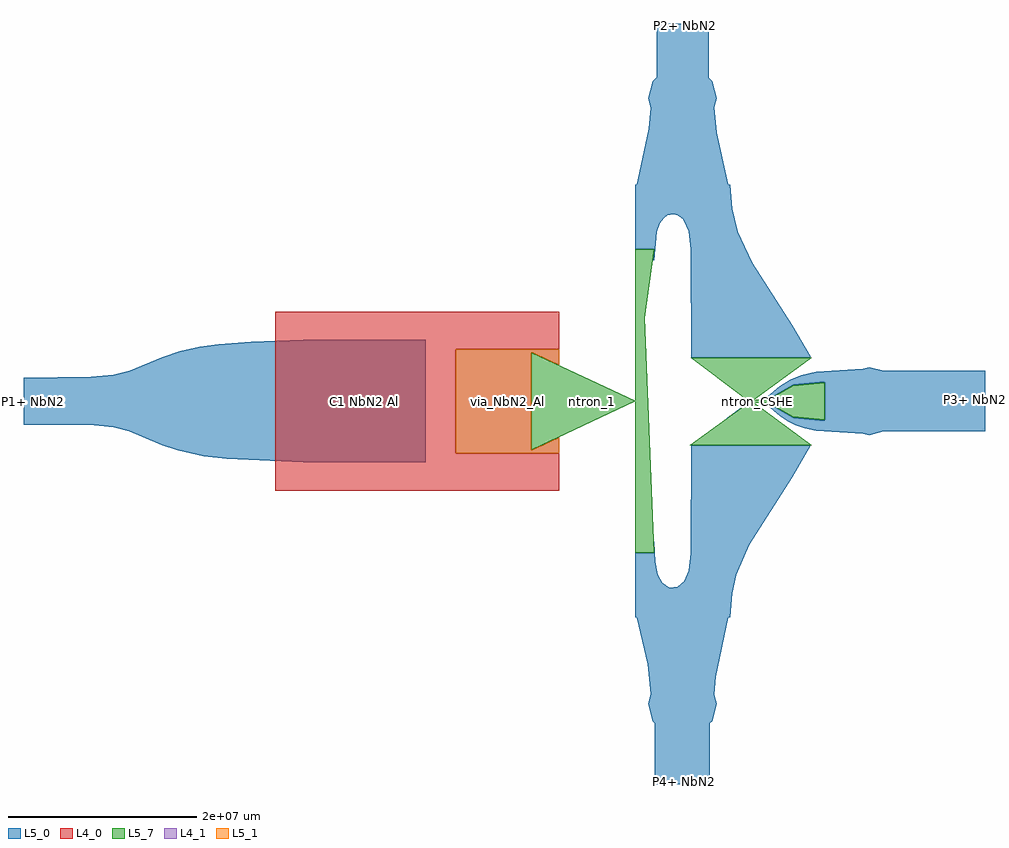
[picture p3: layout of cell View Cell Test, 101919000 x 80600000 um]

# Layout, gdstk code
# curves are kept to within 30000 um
import gdstk
lib = gdstk.Library(unit=1e-6, precision=1e-06)
def P(c, l, *ps):  # polygons
    for p in ps: c.add(gdstk.Polygon(p, *l))
L4_0 = (4, 0)
L4_1 = (4, 1)
L5_0 = (5, 0)
L5_1 = (5, 1)
L5_7 = (5, 7)

view_cell_test = lib.new_cell('View Cell Test')
P(view_cell_test, L4_0, [(-20357000,-5507000),(-31319000,-5507000),(-31319000,5527000),(-20357000,5527000),(-20357000,9492000),(-50479000,9492000),(-50479000,-9493000),(-20357000,-9493000)])
P(view_cell_test, L4_1, [(-20357000,-3802251),(-23346000,-5200000),(-23346000,5200000),(-20357000,3802251),(-20357000,5527000),(-31319000,5527000),(-31319000,-5507000),(-20357000,-5507000)])
P(view_cell_test, L5_0, [(6315000,4695000),(4380000,8067000),(97000,14697000),(-1446000,17988000),(-1988000,20382000),(-2229000,22945000),(-2423000,22945000),(-3652000,28454000),(-3924000,31160500),(-3667000,32120000),(-4152000,33931000),(-4500000,34279500),(-4500000,40000000),(-10000000,40000000),(-10000000,34359000),(-10428000,33931000),(-10913000,32120000),(-10646500,31124000),(-10850000,28883000),(-12145000,22945000),(-12315000,22945000),(-12315000,14945000),(-12286000,16090000),(-10298000,16090000),(-10450330,14945000),(-10287000,14945000),(-10018000,17962000),(-9700000,18850000),(-9280000,19420000),(-8892000,19692000),(-8235000,19825000),(-7774000,19709000),(-7214000,19276000),(-6621000,18000000),(-6385000,16127000),(-6365000,4682000),(-6255680,4600000),(6188512,4600000)],
  [(-34490000,6495000),(-47490000,6495000),(-53014000,6308000),(-56455000,6049000),(-58471000,5766000),(-60579000,5294000),(-62454000,4671000),(-65883000,3233000),(-67594000,2788000),(-69968000,2572000),(-77119000,2508000),(-77119000,-2492000),(-69654000,-2570000),(-67594000,-2772000),(-65931000,-3200000),(-62454000,-4655000),(-60828000,-5207000),(-58067000,-5818000),(-55599000,-6119000),(-47490000,-6458000),(-34490000,-6458000)],
  [(14085500,-3200000),(24800000,-3200000),(24800000,3200000),(14085500,3200000),(12505000,3623000),(11878000,3455000),(6889000,3129000),(5303000,2750000),(4146000,2262000),(3045000,1557000),(1695000,447000),(1128000,259000),(1128000,171104),(1852000,194000),(4438000,1685000),(7783000,1996000),(7783000,-2004000),(4438000,-1693000),(1852000,-202000),(1128000,-179104),(1128000,-259000),(1695000,-447000),(3045000,-1557000),(3865000,-2106000),(4728000,-2536000),(5691000,-2868000),(6889000,-3129000),(11878000,-3455000),(12505000,-3623000)],
  [(-678000,-440000),(-723000,-440000),(-2514322,-1783650)],
  [(-4400000,-34169000),(-4152000,-33921000),(-3667000,-32110000),(-3928500,-31132500),(-3776000,-29218000),(-2441000,-22935000),(-2229000,-22935000),(-1988000,-20372000),(-1570000,-18383000),(-216000,-15230000),(4380000,-8057000),(6306392,-4700000),(-6365049,-4700000),(-6385000,-16117000),(-6621000,-17990000),(-7071000,-19078000),(-7774000,-19699000),(-8670000,-19767000),(-9442000,-19236000),(-9887000,-18406000),(-10173000,-17020000),(-10287000,-14935000),(-10342774,-14935000),(-10298000,-16090000),(-12286000,-16090000),(-12315000,-14935000),(-12315000,-22935000),(-12127000,-22935000),(-10991000,-27921000),(-10641500,-31096000),(-10913000,-32110000),(-10428000,-33921000),(-10200000,-34149000),(-10200000,-40600000),(-4400000,-40600000)])
P(view_cell_test, L5_1, [(-20357000,-3802251),(-23346000,-5200000),(-23346000,5200000),(-20357000,3802251),(-20357000,5527000),(-31319000,5527000),(-31319000,-5507000),(-20357000,-5507000)])
P(view_cell_test, L5_7, [(-1072000,550000),(-350000,-200000),(-6500000,-4700000),(6434000,-4700000),(350000,-154500),(1852000,-202000),(4438000,-1693000),(7783000,-2004000),(7783000,1996000),(4438000,1685000),(1852000,194000),(350000,146500),(6400000,4600000),(-6400000,4600000)],
  [(-11264000,8829000),(-10298000,16090000),(-12286000,16090000),(-12286000,28000),(-23346000,5200000),(-23346000,-5200000),(-12286000,-28000),(-12286000,-16090000),(-10298000,-16090000)])
view_cell_test.add(gdstk.Label('P4+ NbN2', (-7100000,-40300000), layer=64, texttype=0))
view_cell_test.add(gdstk.Label('P3+ NbN2', (24500000,200000), layer=64, texttype=0))
view_cell_test.add(gdstk.Label('P2+ NbN2', (-7000000,39800000), layer=64, texttype=0))
view_cell_test.add(gdstk.Label('P1+ NbN2', (-76800000,0), layer=64, texttype=0))
view_cell_test.add(gdstk.Label('C1 NbN2 Al', (-41000000,0), layer=64, texttype=0))
view_cell_test.add(gdstk.Label('C1 NbN2 Al', (-41000000,0), layer=64, texttype=0))
view_cell_test.add(gdstk.Label('ntron_1', (-16822000,-10), layer=64, texttype=0))
view_cell_test.add(gdstk.Label('ntron_CSHE', (641510,-50000), layer=64, texttype=0))
view_cell_test.add(gdstk.Label('via_NbN2_Al', (-25837990,10000), layer=64, texttype=0))

lib.write_gds('View_Cell_Test.gds')
